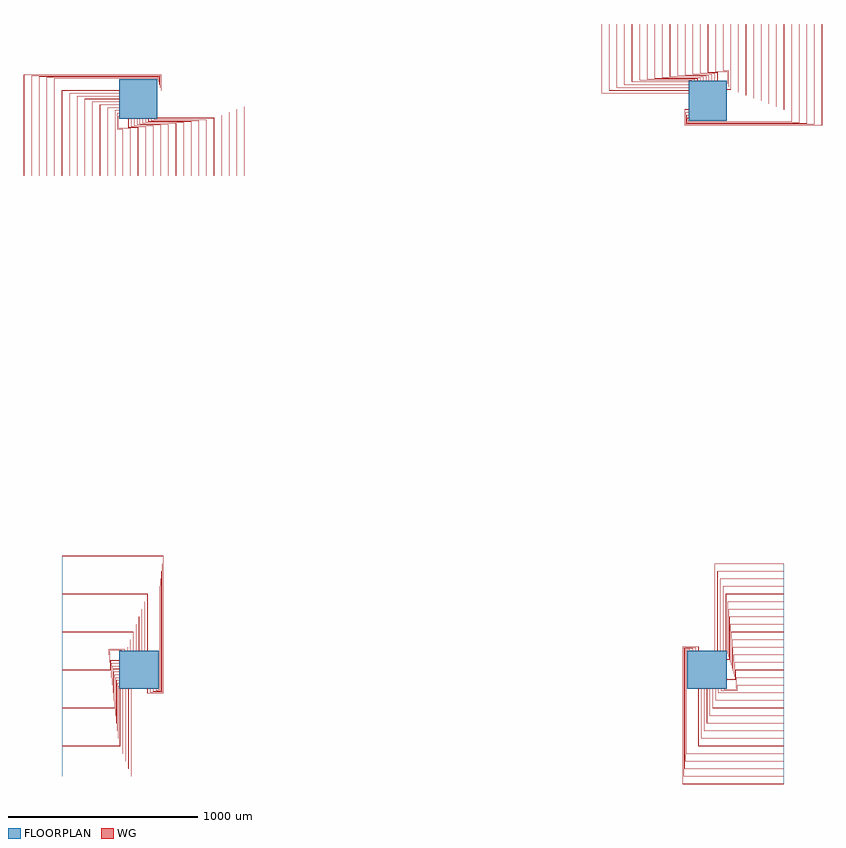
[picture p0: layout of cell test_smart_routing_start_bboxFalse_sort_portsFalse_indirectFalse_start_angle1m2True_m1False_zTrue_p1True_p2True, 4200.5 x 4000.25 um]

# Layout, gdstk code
import gdstk
lib = gdstk.Library(unit=1e-6, precision=1e-09)
def R(c, l, rs):  # rectangles x0, y0, x1, y1
    for r in rs: c.add(gdstk.rectangle(r[:2], r[2:], *l))
def P(c, l, *ps):  # polygons
    for p in ps: c.add(gdstk.Polygon(p, *l))
WG = (1, 0)
FLOORPLAN = (10, 0)

test_smart_routing_start = lib.new_cell('test_smart_routing_start_bboxFalse_sort_portsFalse_indirectFalse_start_angle1m2True_m1False_zTrue_p1True_p2True')
P(test_smart_routing_start, WG, [(2877.8,2867.55),(2877.8,2949.95),(2900,2949.95),(2900,2949.75),(2878,2949.75),(2878,2867.75),(3599.75,2867.75),(3599.75,3400),(3599.95,3400),(3599.95,2867.55)],
  [(2877.5,2867.25),(2877.5,2950.25),(2900,2950.25),(2900,2950.05),(2877.7,2950.05),(2877.7,2867.45),(3600.05,2867.45),(3600.05,3400),(3600.25,3400),(3600.25,2867.25)],
  [(2882.3,2872.05),(2882.3,2934.95),(2900,2934.95),(2900,2934.75),(2882.5,2934.75),(2882.5,2872.25),(3559.75,2872.25),(3559.75,3400),(3559.95,3400),(3559.95,2872.05)],
  [(2882,2871.75),(2882,2935.25),(2900,2935.25),(2900,2935.05),(2882.2,2935.05),(2882.2,2871.95),(3560.05,2871.95),(3560.05,3400),(3560.25,3400),(3560.25,2871.75)],
  [(2886.8,2876.55),(2886.8,2919.95),(2900,2919.95),(2900,2919.75),(2887,2919.75),(2887,2876.75),(3519.75,2876.75),(3519.75,3400),(3519.95,3400),(3519.95,2876.55)],
  [(2886.5,2876.25),(2886.5,2920.25),(2900,2920.25),(2900,2920.05),(2886.7,2920.05),(2886.7,2876.45),(3520.05,2876.45),(3520.05,3400),(3520.25,3400),(3520.25,2876.25)],
  [(2891.3,2881.05),(2891.3,2904.95),(2900,2904.95),(2900,2904.75),(2891.5,2904.75),(2891.5,2881.25),(3479.75,2881.25),(3479.75,3400),(3479.95,3400),(3479.95,2881.05)],
  [(2891,2880.75),(2891,2905.25),(2900,2905.25),(2900,2905.05),(2891.2,2905.05),(2891.2,2880.95),(3480.05,2880.95),(3480.05,3400),(3480.25,3400),(3480.25,2880.75)],
  [(2895.8,2885.55),(2895.8,2889.95),(2900,2889.95),(2900,2889.75),(2896,2889.75),(2896,2885.75),(3439.75,2885.75),(3439.75,3400),(3439.95,3400),(3439.95,2885.55)],
  [(2895.5,2885.25),(2895.5,2890.25),(2900,2890.25),(2900,2890.05),(2895.7,2890.05),(2895.7,2885.45),(3440.05,2885.45),(3440.05,3400),(3440.25,3400),(3440.25,2885.25)],
  [(3100,2950.05),(3100,2950.25),(3399.75,2950.25),(3399.75,3400),(3399.95,3400),(3399.95,2950.05)],
  [(3100,2949.75),(3100,2949.95),(3400.05,2949.95),(3400.05,3400),(3400.25,3400),(3400.25,2949.75)],
  [(3100,2965.05),(3100,2965.25),(3359.75,2965.25),(3359.75,3400),(3359.95,3400),(3359.95,2965.05)],
  [(3100,2964.75),(3100,2964.95),(3360.05,2964.95),(3360.05,3400),(3360.25,3400),(3360.25,2964.75)],
  [(3100,2980.05),(3100,2980.25),(3319.75,2980.25),(3319.75,3400),(3319.95,3400),(3319.95,2980.05)],
  [(3100,2979.75),(3100,2979.95),(3320.05,2979.95),(3320.05,3400),(3320.25,3400),(3320.25,2979.75)],
  [(3100,2995.05),(3100,2995.25),(3279.75,2995.25),(3279.75,3400),(3279.95,3400),(3279.95,2995.05)],
  [(3100,2994.75),(3100,2994.95),(3280.05,2994.95),(3280.05,3400),(3280.25,3400),(3280.25,2994.75)],
  [(3100,3010.05),(3100,3010.25),(3239.75,3010.25),(3239.75,3400),(3239.95,3400),(3239.95,3010.05)],
  [(3100,3009.75),(3100,3009.95),(3240.05,3009.95),(3240.05,3400),(3240.25,3400),(3240.25,3009.75)],
  [(3100,3025.05),(3100,3025.25),(3199.75,3025.25),(3199.75,3400),(3199.95,3400),(3199.95,3025.05)],
  [(3100,3024.75),(3100,3024.95),(3200.05,3024.95),(3200.05,3400),(3200.25,3400),(3200.25,3024.75)],
  [(3100,3040.05),(3100,3040.25),(3159.75,3040.25),(3159.75,3400),(3159.95,3400),(3159.95,3040.05)],
  [(3100,3039.75),(3100,3039.95),(3160.05,3039.95),(3160.05,3400),(3160.25,3400),(3160.25,3039.75)],
  [(3100,3055.05),(3100,3055.25),(3119.75,3055.25),(3119.75,3400),(3119.95,3400),(3119.95,3055.05)],
  [(3100,3054.75),(3100,3054.95),(3120.05,3054.95),(3120.05,3400),(3120.25,3400),(3120.25,3054.75)],
  [(3100,3070.05),(3100,3070.25),(3108.5,3070.25),(3108.5,3153.5),(3079.75,3153.5),(3079.75,3400),(3079.95,3400),(3079.95,3153.7),(3108.7,3153.7),(3108.7,3070.05)],
  [(3100,3069.75),(3100,3069.95),(3108.8,3069.95),(3108.8,3153.8),(3080.05,3153.8),(3080.05,3400),(3080.25,3400),(3080.25,3154),(3109,3154),(3109,3069.75)],
  [(3100,3085.05),(3100,3085.25),(3104,3085.25),(3104,3149),(3039.75,3149),(3039.75,3400),(3039.95,3400),(3039.95,3149.2),(3104.2,3149.2),(3104.2,3085.05)],
  [(3100,3084.75),(3100,3084.95),(3104.3,3084.95),(3104.3,3149.3),(3040.05,3149.3),(3040.05,3400),(3040.25,3400),(3040.25,3149.5),(3104.5,3149.5),(3104.5,3084.75)],
  [(3049.75,3100),(3049.75,3144.5),(2999.75,3144.5),(2999.75,3400),(2999.95,3400),(2999.95,3144.7),(3049.95,3144.7),(3049.95,3100)],
  [(3050.05,3100),(3050.05,3144.8),(3000.05,3144.8),(3000.05,3400),(3000.25,3400),(3000.25,3145),(3050.25,3145),(3050.25,3100)],
  [(3034.75,3100),(3034.75,3140),(2959.75,3140),(2959.75,3400),(2959.95,3400),(2959.95,3140.2),(3034.95,3140.2),(3034.95,3100)],
  [(3035.05,3100),(3035.05,3140.3),(2960.05,3140.3),(2960.05,3400),(2960.25,3400),(2960.25,3140.5),(3035.25,3140.5),(3035.25,3100)],
  [(3019.75,3100),(3019.75,3135.5),(2919.75,3135.5),(2919.75,3400),(2919.95,3400),(2919.95,3135.7),(3019.95,3135.7),(3019.95,3100)],
  [(3020.05,3100),(3020.05,3135.8),(2920.05,3135.8),(2920.05,3400),(2920.25,3400),(2920.25,3136),(3020.25,3136),(3020.25,3100)],
  [(3004.75,3100),(3004.75,3131),(2879.75,3131),(2879.75,3400),(2879.95,3400),(2879.95,3131.2),(3004.95,3131.2),(3004.95,3100)],
  [(3005.05,3100),(3005.05,3131.3),(2880.05,3131.3),(2880.05,3400),(2880.25,3400),(2880.25,3131.5),(3005.25,3131.5),(3005.25,3100)],
  [(2989.75,3100),(2989.75,3126.5),(2839.75,3126.5),(2839.75,3400),(2839.95,3400),(2839.95,3126.7),(2989.95,3126.7),(2989.95,3100)],
  [(2990.05,3100),(2990.05,3126.8),(2840.05,3126.8),(2840.05,3400),(2840.25,3400),(2840.25,3127),(2990.25,3127),(2990.25,3100)],
  [(2974.75,3100),(2974.75,3122),(2799.75,3122),(2799.75,3400),(2799.95,3400),(2799.95,3122.2),(2974.95,3122.2),(2974.95,3100)],
  [(2975.05,3100),(2975.05,3122.3),(2800.05,3122.3),(2800.05,3400),(2800.25,3400),(2800.25,3122.5),(2975.25,3122.5),(2975.25,3100)],
  [(2959.75,3100),(2959.75,3117.5),(2759.75,3117.5),(2759.75,3400),(2759.95,3400),(2759.95,3117.7),(2959.95,3117.7),(2959.95,3100)],
  [(2960.05,3100),(2960.05,3117.8),(2760.05,3117.8),(2760.05,3400),(2760.25,3400),(2760.25,3118),(2960.25,3118),(2960.25,3100)],
  [(2944.75,3100),(2944.75,3113),(2719.75,3113),(2719.75,3400),(2719.95,3400),(2719.95,3113.2),(2944.95,3113.2),(2944.95,3100)],
  [(2945.05,3100),(2945.05,3113.3),(2720.05,3113.3),(2720.05,3400),(2720.25,3400),(2720.25,3113.5),(2945.25,3113.5),(2945.25,3100)],
  [(2929.75,3100),(2929.75,3108.5),(2679.75,3108.5),(2679.75,3400),(2679.95,3400),(2679.95,3108.7),(2929.95,3108.7),(2929.95,3100)],
  [(2930.05,3100),(2930.05,3108.8),(2680.05,3108.8),(2680.05,3400),(2680.25,3400),(2680.25,3109),(2930.25,3109),(2930.25,3100)],
  [(2914.75,3100),(2914.75,3104),(2639.75,3104),(2639.75,3400),(2639.95,3400),(2639.95,3104.2),(2914.95,3104.2),(2914.95,3100)],
  [(2915.05,3100),(2915.05,3104.3),(2640.05,3104.3),(2640.05,3400),(2640.25,3400),(2640.25,3104.5),(2915.25,3104.5),(2915.25,3100)],
  [(2439.75,3034.75),(2439.75,3400),(2439.95,3400),(2439.95,3034.95),(2900,3034.95),(2900,3034.75)],
  [(2440.05,3035.05),(2440.05,3400),(2440.25,3400),(2440.25,3035.25),(2900,3035.25),(2900,3035.05)],
  [(2479.75,3049.75),(2479.75,3400),(2479.95,3400),(2479.95,3049.95),(2900,3049.95),(2900,3049.75)],
  [(2480.05,3050.05),(2480.05,3400),(2480.25,3400),(2480.25,3050.25),(2900,3050.25),(2900,3050.05)],
  [(2519.75,3064.75),(2519.75,3400),(2519.95,3400),(2519.95,3064.95),(2900,3064.95),(2900,3064.75)],
  [(2520.05,3065.05),(2520.05,3400),(2520.25,3400),(2520.25,3065.25),(2900,3065.25),(2900,3065.05)],
  [(2559.75,3079.75),(2559.75,3400),(2559.95,3400),(2559.95,3079.95),(2900,3079.95),(2900,3079.75)],
  [(2560.05,3080.05),(2560.05,3400),(2560.25,3400),(2560.25,3080.25),(2900,3080.25),(2900,3080.05)],
  [(2599.75,3094.75),(2599.75,3400),(2599.95,3400),(2599.95,3094.95),(2900,3094.95),(2900,3094.75)],
  [(2600.05,3095.05),(2600.05,3400),(2600.25,3400),(2600.25,3095.25),(2900,3095.25),(2900,3095.05)],
  [(-599.95,2600),(-599.95,3132.45),(122.2,3132.45),(122.2,3050.05),(100,3050.05),(100,3050.25),(122,3050.25),(122,3132.25),(-599.75,3132.25),(-599.75,2600)],
  [(-600.25,2600),(-600.25,3132.75),(122.5,3132.75),(122.5,3049.75),(100,3049.75),(100,3049.95),(122.3,3049.95),(122.3,3132.55),(-600.05,3132.55),(-600.05,2600)],
  [(-559.95,2600),(-559.95,3127.95),(117.7,3127.95),(117.7,3065.05),(100,3065.05),(100,3065.25),(117.5,3065.25),(117.5,3127.75),(-559.75,3127.75),(-559.75,2600)],
  [(-560.25,2600),(-560.25,3128.25),(118,3128.25),(118,3064.75),(100,3064.75),(100,3064.95),(117.8,3064.95),(117.8,3128.05),(-560.05,3128.05),(-560.05,2600)],
  [(-519.95,2600),(-519.95,3123.45),(113.2,3123.45),(113.2,3080.05),(100,3080.05),(100,3080.25),(113,3080.25),(113,3123.25),(-519.75,3123.25),(-519.75,2600)],
  [(-520.25,2600),(-520.25,3123.75),(113.5,3123.75),(113.5,3079.75),(100,3079.75),(100,3079.95),(113.3,3079.95),(113.3,3123.55),(-520.05,3123.55),(-520.05,2600)],
  [(-479.95,2600),(-479.95,3118.95),(108.7,3118.95),(108.7,3095.05),(100,3095.05),(100,3095.25),(108.5,3095.25),(108.5,3118.75),(-479.75,3118.75),(-479.75,2600)],
  [(-480.25,2600),(-480.25,3119.25),(109,3119.25),(109,3094.75),(100,3094.75),(100,3094.95),(108.8,3094.95),(108.8,3119.05),(-480.05,3119.05),(-480.05,2600)],
  [(-439.95,2600),(-439.95,3114.45),(104.2,3114.45),(104.2,3110.05),(100,3110.05),(100,3110.25),(104,3110.25),(104,3114.25),(-439.75,3114.25),(-439.75,2600)],
  [(-440.25,2600),(-440.25,3114.75),(104.5,3114.75),(104.5,3109.75),(100,3109.75),(100,3109.95),(104.3,3109.95),(104.3,3114.55),(-440.05,3114.55),(-440.05,2600)],
  [(-399.95,2600),(-399.95,3049.95),(-100,3049.95),(-100,3049.75),(-399.75,3049.75),(-399.75,2600)],
  [(-400.25,2600),(-400.25,3050.25),(-100,3050.25),(-100,3050.05),(-400.05,3050.05),(-400.05,2600)],
  [(-359.95,2600),(-359.95,3034.95),(-100,3034.95),(-100,3034.75),(-359.75,3034.75),(-359.75,2600)],
  [(-360.25,2600),(-360.25,3035.25),(-100,3035.25),(-100,3035.05),(-360.05,3035.05),(-360.05,2600)],
  [(-319.95,2600),(-319.95,3019.95),(-100,3019.95),(-100,3019.75),(-319.75,3019.75),(-319.75,2600)],
  [(-320.25,2600),(-320.25,3020.25),(-100,3020.25),(-100,3020.05),(-320.05,3020.05),(-320.05,2600)],
  [(-279.95,2600),(-279.95,3004.95),(-100,3004.95),(-100,3004.75),(-279.75,3004.75),(-279.75,2600)],
  [(-280.25,2600),(-280.25,3005.25),(-100,3005.25),(-100,3005.05),(-280.05,3005.05),(-280.05,2600)],
  [(-239.95,2600),(-239.95,2989.95),(-100,2989.95),(-100,2989.75),(-239.75,2989.75),(-239.75,2600)],
  [(-240.25,2600),(-240.25,2990.25),(-100,2990.25),(-100,2990.05),(-240.05,2990.05),(-240.05,2600)],
  [(-199.95,2600),(-199.95,2974.95),(-100,2974.95),(-100,2974.75),(-199.75,2974.75),(-199.75,2600)],
  [(-200.25,2600),(-200.25,2975.25),(-100,2975.25),(-100,2975.05),(-200.05,2975.05),(-200.05,2600)],
  [(-159.95,2600),(-159.95,2959.95),(-100,2959.95),(-100,2959.75),(-159.75,2959.75),(-159.75,2600)],
  [(-160.25,2600),(-160.25,2960.25),(-100,2960.25),(-100,2960.05),(-160.05,2960.05),(-160.05,2600)],
  [(-119.95,2600),(-119.95,2944.95),(-100,2944.95),(-100,2944.75),(-119.75,2944.75),(-119.75,2600)],
  [(-120.25,2600),(-120.25,2945.25),(-100,2945.25),(-100,2945.05),(-120.05,2945.05),(-120.05,2600)],
  [(-79.95,2600),(-79.95,2846.3),(-108.7,2846.3),(-108.7,2929.95),(-100,2929.95),(-100,2929.75),(-108.5,2929.75),(-108.5,2846.5),(-79.75,2846.5),(-79.75,2600)],
  [(-80.25,2600),(-80.25,2846),(-109,2846),(-109,2930.25),(-100,2930.25),(-100,2930.05),(-108.8,2930.05),(-108.8,2846.2),(-80.05,2846.2),(-80.05,2600)],
  [(-39.95,2600),(-39.95,2850.8),(-104.2,2850.8),(-104.2,2914.95),(-100,2914.95),(-100,2914.75),(-104,2914.75),(-104,2851),(-39.75,2851),(-39.75,2600)],
  [(-40.25,2600),(-40.25,2850.5),(-104.5,2850.5),(-104.5,2915.25),(-100,2915.25),(-100,2915.05),(-104.3,2915.05),(-104.3,2850.7),(-40.05,2850.7),(-40.05,2600)],
  [(-0.25,2600),(-0.25,2855),(-50.25,2855),(-50.25,2900),(-50.05,2900),(-50.05,2855.2),(-0.05,2855.2),(-0.05,2600)],
  [(0.05,2600),(0.05,2855.3),(-49.95,2855.3),(-49.95,2900),(-49.75,2900),(-49.75,2855.5),(0.25,2855.5),(0.25,2600)],
  [(39.75,2600),(39.75,2859.5),(-35.25,2859.5),(-35.25,2900),(-35.05,2900),(-35.05,2859.7),(39.95,2859.7),(39.95,2600)],
  [(40.05,2600),(40.05,2859.8),(-34.95,2859.8),(-34.95,2900),(-34.75,2900),(-34.75,2860),(40.25,2860),(40.25,2600)],
  [(79.75,2600),(79.75,2864),(-20.25,2864),(-20.25,2900),(-20.05,2900),(-20.05,2864.2),(79.95,2864.2),(79.95,2600)],
  [(80.05,2600),(80.05,2864.3),(-19.95,2864.3),(-19.95,2900),(-19.75,2900),(-19.75,2864.5),(80.25,2864.5),(80.25,2600)],
  [(119.75,2600),(119.75,2868.5),(-5.25,2868.5),(-5.25,2900),(-5.05,2900),(-5.05,2868.7),(119.95,2868.7),(119.95,2600)],
  [(120.05,2600),(120.05,2868.8),(-4.95,2868.8),(-4.95,2900),(-4.75,2900),(-4.75,2869),(120.25,2869),(120.25,2600)],
  [(159.75,2600),(159.75,2873),(9.75,2873),(9.75,2900),(9.95,2900),(9.95,2873.2),(159.95,2873.2),(159.95,2600)],
  [(160.05,2600),(160.05,2873.3),(10.05,2873.3),(10.05,2900),(10.25,2900),(10.25,2873.5),(160.25,2873.5),(160.25,2600)],
  [(199.75,2600),(199.75,2877.5),(24.75,2877.5),(24.75,2900),(24.95,2900),(24.95,2877.7),(199.95,2877.7),(199.95,2600)],
  [(200.05,2600),(200.05,2877.8),(25.05,2877.8),(25.05,2900),(25.25,2900),(25.25,2878),(200.25,2878),(200.25,2600)],
  [(239.75,2600),(239.75,2882),(39.75,2882),(39.75,2900),(39.95,2900),(39.95,2882.2),(239.95,2882.2),(239.95,2600)],
  [(240.05,2600),(240.05,2882.3),(40.05,2882.3),(40.05,2900),(40.25,2900),(40.25,2882.5),(240.25,2882.5),(240.25,2600)],
  [(279.75,2600),(279.75,2886.5),(54.75,2886.5),(54.75,2900),(54.95,2900),(54.95,2886.7),(279.95,2886.7),(279.95,2600)],
  [(280.05,2600),(280.05,2886.8),(55.05,2886.8),(55.05,2900),(55.25,2900),(55.25,2887),(280.25,2887),(280.25,2600)],
  [(319.75,2600),(319.75,2891),(69.75,2891),(69.75,2900),(69.95,2900),(69.95,2891.2),(319.95,2891.2),(319.95,2600)],
  [(320.05,2600),(320.05,2891.3),(70.05,2891.3),(70.05,2900),(70.25,2900),(70.25,2891.5),(320.25,2891.5),(320.25,2600)],
  [(359.75,2600),(359.75,2895.5),(84.75,2895.5),(84.75,2900),(84.95,2900),(84.95,2895.7),(359.95,2895.7),(359.95,2600)],
  [(360.05,2600),(360.05,2895.8),(85.05,2895.8),(85.05,2900),(85.25,2900),(85.25,2896),(360.25,2896),(360.25,2600)],
  [(559.75,2600),(559.75,2964.75),(100,2964.75),(100,2964.95),(559.95,2964.95),(559.95,2600)],
  [(560.05,2600),(560.05,2965.05),(100,2965.05),(100,2965.25),(560.25,2965.25),(560.25,2600)],
  [(519.75,2600),(519.75,2949.75),(100,2949.75),(100,2949.95),(519.95,2949.95),(519.95,2600)],
  [(520.05,2600),(520.05,2950.05),(100,2950.05),(100,2950.25),(520.25,2950.25),(520.25,2600)],
  [(479.75,2600),(479.75,2934.75),(100,2934.75),(100,2934.95),(479.95,2934.95),(479.95,2600)],
  [(480.05,2600),(480.05,2935.05),(100,2935.05),(100,2935.25),(480.25,2935.25),(480.25,2600)],
  [(439.75,2600),(439.75,2919.75),(100,2919.75),(100,2919.95),(439.95,2919.95),(439.95,2600)],
  [(440.05,2600),(440.05,2920.05),(100,2920.05),(100,2920.25),(440.25,2920.25),(440.25,2600)],
  [(399.75,2600),(399.75,2904.75),(100,2904.75),(100,2904.95),(399.95,2904.95),(399.95,2600)],
  [(400.05,2600),(400.05,2905.05),(100,2905.05),(100,2905.25),(400.25,2905.25),(400.25,2600)],
  [(50.05,-122.2),(50.05,-100),(50.25,-100),(50.25,-122),(132.25,-122),(132.25,599.75),(-400,599.75),(-400,599.95),(132.45,599.95),(132.45,-122.2)],
  [(49.75,-122.5),(49.75,-100),(49.95,-100),(49.95,-122.3),(132.55,-122.3),(132.55,600.05),(-400,600.05),(-400,600.25),(132.75,600.25),(132.75,-122.5)],
  [(65.05,-117.7),(65.05,-100),(65.25,-100),(65.25,-117.5),(127.75,-117.5),(127.75,559.75),(-400,559.75),(-400,559.95),(127.95,559.95),(127.95,-117.7)],
  [(64.75,-118),(64.75,-100),(64.95,-100),(64.95,-117.8),(128.05,-117.8),(128.05,560.05),(-400,560.05),(-400,560.25),(128.25,560.25),(128.25,-118)],
  [(80.05,-113.2),(80.05,-100),(80.25,-100),(80.25,-113),(123.25,-113),(123.25,519.75),(-400,519.75),(-400,519.95),(123.45,519.95),(123.45,-113.2)],
  [(79.75,-113.5),(79.75,-100),(79.95,-100),(79.95,-113.3),(123.55,-113.3),(123.55,520.05),(-400,520.05),(-400,520.25),(123.75,520.25),(123.75,-113.5)],
  [(95.05,-108.7),(95.05,-100),(95.25,-100),(95.25,-108.5),(118.75,-108.5),(118.75,479.75),(-400,479.75),(-400,479.95),(118.95,479.95),(118.95,-108.7)],
  [(94.75,-109),(94.75,-100),(94.95,-100),(94.95,-108.8),(119.05,-108.8),(119.05,480.05),(-400,480.05),(-400,480.25),(119.25,480.25),(119.25,-109)],
  [(110.05,-104.2),(110.05,-100),(110.25,-100),(110.25,-104),(114.25,-104),(114.25,439.75),(-400,439.75),(-400,439.95),(114.45,439.95),(114.45,-104.2)],
  [(109.75,-104.5),(109.75,-100),(109.95,-100),(109.95,-104.3),(114.55,-104.3),(114.55,440.05),(-400,440.05),(-400,440.25),(114.75,440.25),(114.75,-104.5)],
  [(49.75,100),(49.75,399.75),(-400,399.75),(-400,399.95),(49.95,399.95),(49.95,100)],
  [(50.05,100),(50.05,400.05),(-400,400.05),(-400,400.25),(50.25,400.25),(50.25,100)],
  [(34.75,100),(34.75,359.75),(-400,359.75),(-400,359.95),(34.95,359.95),(34.95,100)],
  [(35.05,100),(35.05,360.05),(-400,360.05),(-400,360.25),(35.25,360.25),(35.25,100)],
  [(19.75,100),(19.75,319.75),(-400,319.75),(-400,319.95),(19.95,319.95),(19.95,100)],
  [(20.05,100),(20.05,320.05),(-400,320.05),(-400,320.25),(20.25,320.25),(20.25,100)],
  [(4.75,100),(4.75,279.75),(-400,279.75),(-400,279.95),(4.95,279.95),(4.95,100)],
  [(5.05,100),(5.05,280.05),(-400,280.05),(-400,280.25),(5.25,280.25),(5.25,100)],
  [(-10.25,100),(-10.25,239.75),(-400,239.75),(-400,239.95),(-10.05,239.95),(-10.05,100)],
  [(-9.95,100),(-9.95,240.05),(-400,240.05),(-400,240.25),(-9.75,240.25),(-9.75,100)],
  [(-25.25,100),(-25.25,199.75),(-400,199.75),(-400,199.95),(-25.05,199.95),(-25.05,100)],
  [(-24.95,100),(-24.95,200.05),(-400,200.05),(-400,200.25),(-24.75,200.25),(-24.75,100)],
  [(-40.25,100),(-40.25,159.75),(-400,159.75),(-400,159.95),(-40.05,159.95),(-40.05,100)],
  [(-39.95,100),(-39.95,160.05),(-400,160.05),(-400,160.25),(-39.75,160.25),(-39.75,100)],
  [(-55.25,100),(-55.25,119.75),(-400,119.75),(-400,119.95),(-55.05,119.95),(-55.05,100)],
  [(-54.95,100),(-54.95,120.05),(-400,120.05),(-400,120.25),(-54.75,120.25),(-54.75,100)],
  [(-400,79.75),(-400,79.95),(-153.7,79.95),(-153.7,108.7),(-70.05,108.7),(-70.05,100),(-70.25,100),(-70.25,108.5),(-153.5,108.5),(-153.5,79.75)],
  [(-400,80.05),(-400,80.25),(-154,80.25),(-154,109),(-69.75,109),(-69.75,100),(-69.95,100),(-69.95,108.8),(-153.8,108.8),(-153.8,80.05)],
  [(-400,39.75),(-400,39.95),(-149.2,39.95),(-149.2,104.2),(-85.05,104.2),(-85.05,100),(-85.25,100),(-85.25,104),(-149,104),(-149,39.75)],
  [(-400,40.05),(-400,40.25),(-149.5,40.25),(-149.5,104.5),(-84.75,104.5),(-84.75,100),(-84.95,100),(-84.95,104.3),(-149.3,104.3),(-149.3,40.05)],
  [(-400,-0.25),(-400,-0.05),(-144.7,-0.05),(-144.7,49.95),(-100,49.95),(-100,49.75),(-144.5,49.75),(-144.5,-0.25)],
  [(-400,0.05),(-400,0.25),(-145,0.25),(-145,50.25),(-100,50.25),(-100,50.05),(-144.8,50.05),(-144.8,0.05)],
  [(-400,-40.25),(-400,-40.05),(-140.2,-40.05),(-140.2,34.95),(-100,34.95),(-100,34.75),(-140,34.75),(-140,-40.25)],
  [(-400,-39.95),(-400,-39.75),(-140.5,-39.75),(-140.5,35.25),(-100,35.25),(-100,35.05),(-140.3,35.05),(-140.3,-39.95)],
  [(-400,-80.25),(-400,-80.05),(-135.7,-80.05),(-135.7,19.95),(-100,19.95),(-100,19.75),(-135.5,19.75),(-135.5,-80.25)],
  [(-400,-79.95),(-400,-79.75),(-136,-79.75),(-136,20.25),(-100,20.25),(-100,20.05),(-135.8,20.05),(-135.8,-79.95)],
  [(-400,-120.25),(-400,-120.05),(-131.2,-120.05),(-131.2,4.95),(-100,4.95),(-100,4.75),(-131,4.75),(-131,-120.25)],
  [(-400,-119.95),(-400,-119.75),(-131.5,-119.75),(-131.5,5.25),(-100,5.25),(-100,5.05),(-131.3,5.05),(-131.3,-119.95)],
  [(-400,-160.25),(-400,-160.05),(-126.7,-160.05),(-126.7,-10.05),(-100,-10.05),(-100,-10.25),(-126.5,-10.25),(-126.5,-160.25)],
  [(-400,-159.95),(-400,-159.75),(-127,-159.75),(-127,-9.75),(-100,-9.75),(-100,-9.95),(-126.8,-9.95),(-126.8,-159.95)],
  [(-400,-200.25),(-400,-200.05),(-122.2,-200.05),(-122.2,-25.05),(-100,-25.05),(-100,-25.25),(-122,-25.25),(-122,-200.25)],
  [(-400,-199.95),(-400,-199.75),(-122.5,-199.75),(-122.5,-24.75),(-100,-24.75),(-100,-24.95),(-122.3,-24.95),(-122.3,-199.95)],
  [(-400,-240.25),(-400,-240.05),(-117.7,-240.05),(-117.7,-40.05),(-100,-40.05),(-100,-40.25),(-117.5,-40.25),(-117.5,-240.25)],
  [(-400,-239.95),(-400,-239.75),(-118,-239.75),(-118,-39.75),(-100,-39.75),(-100,-39.95),(-117.8,-39.95),(-117.8,-239.95)],
  [(-400,-280.25),(-400,-280.05),(-113.2,-280.05),(-113.2,-55.05),(-100,-55.05),(-100,-55.25),(-113,-55.25),(-113,-280.25)],
  [(-400,-279.95),(-400,-279.75),(-113.5,-279.75),(-113.5,-54.75),(-100,-54.75),(-100,-54.95),(-113.3,-54.95),(-113.3,-279.95)],
  [(-400,-320.25),(-400,-320.05),(-108.7,-320.05),(-108.7,-70.05),(-100,-70.05),(-100,-70.25),(-108.5,-70.25),(-108.5,-320.25)],
  [(-400,-319.95),(-400,-319.75),(-109,-319.75),(-109,-69.75),(-100,-69.75),(-100,-69.95),(-108.8,-69.95),(-108.8,-319.95)],
  [(-400,-360.25),(-400,-360.05),(-104.2,-360.05),(-104.2,-85.05),(-100,-85.05),(-100,-85.25),(-104,-85.25),(-104,-360.25)],
  [(-400,-359.95),(-400,-359.75),(-104.5,-359.75),(-104.5,-84.75),(-100,-84.75),(-100,-84.95),(-104.3,-84.95),(-104.3,-359.95)],
  [(-400,-559.95),(-400,-559.75),(-35.25,-559.75),(-35.25,-100),(-35.05,-100),(-35.05,-559.95)],
  [(-400,-560.25),(-400,-560.05),(-34.95,-560.05),(-34.95,-100),(-34.75,-100),(-34.75,-560.25)],
  [(-400,-519.95),(-400,-519.75),(-50.25,-519.75),(-50.25,-100),(-50.05,-100),(-50.05,-519.95)],
  [(-400,-520.25),(-400,-520.05),(-49.95,-520.05),(-49.95,-100),(-49.75,-100),(-49.75,-520.25)],
  [(-400,-479.95),(-400,-479.75),(-65.25,-479.75),(-65.25,-100),(-65.05,-100),(-65.05,-479.95)],
  [(-400,-480.25),(-400,-480.05),(-64.95,-480.05),(-64.95,-100),(-64.75,-100),(-64.75,-480.25)],
  [(-400,-439.95),(-400,-439.75),(-80.25,-439.75),(-80.25,-100),(-80.05,-100),(-80.05,-439.95)],
  [(-400,-440.25),(-400,-440.05),(-79.95,-440.05),(-79.95,-100),(-79.75,-100),(-79.75,-440.25)],
  [(-400,-399.95),(-400,-399.75),(-95.25,-399.75),(-95.25,-100),(-95.05,-100),(-95.05,-399.95)],
  [(-400,-400.25),(-400,-400.05),(-94.95,-400.05),(-94.95,-100),(-94.75,-100),(-94.75,-400.25)],
  [(2867.55,-599.95),(2867.55,122.2),(2949.95,122.2),(2949.95,100),(2949.75,100),(2949.75,122),(2867.75,122),(2867.75,-599.75),(3400,-599.75),(3400,-599.95)],
  [(2867.25,-600.25),(2867.25,122.5),(2950.25,122.5),(2950.25,100),(2950.05,100),(2950.05,122.3),(2867.45,122.3),(2867.45,-600.05),(3400,-600.05),(3400,-600.25)],
  [(2872.05,-559.95),(2872.05,117.7),(2934.95,117.7),(2934.95,100),(2934.75,100),(2934.75,117.5),(2872.25,117.5),(2872.25,-559.75),(3400,-559.75),(3400,-559.95)],
  [(2871.75,-560.25),(2871.75,118),(2935.25,118),(2935.25,100),(2935.05,100),(2935.05,117.8),(2871.95,117.8),(2871.95,-560.05),(3400,-560.05),(3400,-560.25)],
  [(2876.55,-519.95),(2876.55,113.2),(2919.95,113.2),(2919.95,100),(2919.75,100),(2919.75,113),(2876.75,113),(2876.75,-519.75),(3400,-519.75),(3400,-519.95)],
  [(2876.25,-520.25),(2876.25,113.5),(2920.25,113.5),(2920.25,100),(2920.05,100),(2920.05,113.3),(2876.45,113.3),(2876.45,-520.05),(3400,-520.05),(3400,-520.25)],
  [(2881.05,-479.95),(2881.05,108.7),(2904.95,108.7),(2904.95,100),(2904.75,100),(2904.75,108.5),(2881.25,108.5),(2881.25,-479.75),(3400,-479.75),(3400,-479.95)],
  [(2880.75,-480.25),(2880.75,109),(2905.25,109),(2905.25,100),(2905.05,100),(2905.05,108.8),(2880.95,108.8),(2880.95,-480.05),(3400,-480.05),(3400,-480.25)],
  [(2885.55,-439.95),(2885.55,104.2),(2889.95,104.2),(2889.95,100),(2889.75,100),(2889.75,104),(2885.75,104),(2885.75,-439.75),(3400,-439.75),(3400,-439.95)],
  [(2885.25,-440.25),(2885.25,104.5),(2890.25,104.5),(2890.25,100),(2890.05,100),(2890.05,104.3),(2885.45,104.3),(2885.45,-440.05),(3400,-440.05),(3400,-440.25)],
  [(2949.75,-400.25),(2949.75,-100),(2949.95,-100),(2949.95,-400.05),(3400,-400.05),(3400,-400.25)],
  [(2950.05,-399.95),(2950.05,-100),(2950.25,-100),(2950.25,-399.75),(3400,-399.75),(3400,-399.95)],
  [(2964.75,-360.25),(2964.75,-100),(2964.95,-100),(2964.95,-360.05),(3400,-360.05),(3400,-360.25)],
  [(2965.05,-359.95),(2965.05,-100),(2965.25,-100),(2965.25,-359.75),(3400,-359.75),(3400,-359.95)],
  [(2979.75,-320.25),(2979.75,-100),(2979.95,-100),(2979.95,-320.05),(3400,-320.05),(3400,-320.25)],
  [(2980.05,-319.95),(2980.05,-100),(2980.25,-100),(2980.25,-319.75),(3400,-319.75),(3400,-319.95)],
  [(2994.75,-280.25),(2994.75,-100),(2994.95,-100),(2994.95,-280.05),(3400,-280.05),(3400,-280.25)],
  [(2995.05,-279.95),(2995.05,-100),(2995.25,-100),(2995.25,-279.75),(3400,-279.75),(3400,-279.95)],
  [(3009.75,-240.25),(3009.75,-100),(3009.95,-100),(3009.95,-240.05),(3400,-240.05),(3400,-240.25)],
  [(3010.05,-239.95),(3010.05,-100),(3010.25,-100),(3010.25,-239.75),(3400,-239.75),(3400,-239.95)],
  [(3024.75,-200.25),(3024.75,-100),(3024.95,-100),(3024.95,-200.05),(3400,-200.05),(3400,-200.25)],
  [(3025.05,-199.95),(3025.05,-100),(3025.25,-100),(3025.25,-199.75),(3400,-199.75),(3400,-199.95)],
  [(3039.75,-160.25),(3039.75,-100),(3039.95,-100),(3039.95,-160.05),(3400,-160.05),(3400,-160.25)],
  [(3040.05,-159.95),(3040.05,-100),(3040.25,-100),(3040.25,-159.75),(3400,-159.75),(3400,-159.95)],
  [(3054.75,-120.25),(3054.75,-100),(3054.95,-100),(3054.95,-120.05),(3400,-120.05),(3400,-120.25)],
  [(3055.05,-119.95),(3055.05,-100),(3055.25,-100),(3055.25,-119.75),(3400,-119.75),(3400,-119.95)],
  [(3069.75,-109),(3069.75,-100),(3069.95,-100),(3069.95,-108.8),(3153.8,-108.8),(3153.8,-80.05),(3400,-80.05),(3400,-80.25),(3154,-80.25),(3154,-109)],
  [(3070.05,-108.7),(3070.05,-100),(3070.25,-100),(3070.25,-108.5),(3153.5,-108.5),(3153.5,-79.75),(3400,-79.75),(3400,-79.95),(3153.7,-79.95),(3153.7,-108.7)],
  [(3084.75,-104.5),(3084.75,-100),(3084.95,-100),(3084.95,-104.3),(3149.3,-104.3),(3149.3,-40.05),(3400,-40.05),(3400,-40.25),(3149.5,-40.25),(3149.5,-104.5)],
  [(3085.05,-104.2),(3085.05,-100),(3085.25,-100),(3085.25,-104),(3149,-104),(3149,-39.75),(3400,-39.75),(3400,-39.95),(3149.2,-39.95),(3149.2,-104.2)],
  [(3100,-50.25),(3100,-50.05),(3144.8,-50.05),(3144.8,-0.05),(3400,-0.05),(3400,-0.25),(3145,-0.25),(3145,-50.25)],
  [(3100,-49.95),(3100,-49.75),(3144.5,-49.75),(3144.5,0.25),(3400,0.25),(3400,0.05),(3144.7,0.05),(3144.7,-49.95)],
  [(3100,-35.25),(3100,-35.05),(3140.3,-35.05),(3140.3,39.95),(3400,39.95),(3400,39.75),(3140.5,39.75),(3140.5,-35.25)],
  [(3100,-34.95),(3100,-34.75),(3140,-34.75),(3140,40.25),(3400,40.25),(3400,40.05),(3140.2,40.05),(3140.2,-34.95)],
  [(3100,-20.25),(3100,-20.05),(3135.8,-20.05),(3135.8,79.95),(3400,79.95),(3400,79.75),(3136,79.75),(3136,-20.25)],
  [(3100,-19.95),(3100,-19.75),(3135.5,-19.75),(3135.5,80.25),(3400,80.25),(3400,80.05),(3135.7,80.05),(3135.7,-19.95)],
  [(3100,-5.25),(3100,-5.05),(3131.3,-5.05),(3131.3,119.95),(3400,119.95),(3400,119.75),(3131.5,119.75),(3131.5,-5.25)],
  [(3100,-4.95),(3100,-4.75),(3131,-4.75),(3131,120.25),(3400,120.25),(3400,120.05),(3131.2,120.05),(3131.2,-4.95)],
  [(3100,9.75),(3100,9.95),(3126.8,9.95),(3126.8,159.95),(3400,159.95),(3400,159.75),(3127,159.75),(3127,9.75)],
  [(3100,10.05),(3100,10.25),(3126.5,10.25),(3126.5,160.25),(3400,160.25),(3400,160.05),(3126.7,160.05),(3126.7,10.05)],
  [(3100,24.75),(3100,24.95),(3122.3,24.95),(3122.3,199.95),(3400,199.95),(3400,199.75),(3122.5,199.75),(3122.5,24.75)],
  [(3100,25.05),(3100,25.25),(3122,25.25),(3122,200.25),(3400,200.25),(3400,200.05),(3122.2,200.05),(3122.2,25.05)],
  [(3100,39.75),(3100,39.95),(3117.8,39.95),(3117.8,239.95),(3400,239.95),(3400,239.75),(3118,239.75),(3118,39.75)],
  [(3100,40.05),(3100,40.25),(3117.5,40.25),(3117.5,240.25),(3400,240.25),(3400,240.05),(3117.7,240.05),(3117.7,40.05)],
  [(3100,54.75),(3100,54.95),(3113.3,54.95),(3113.3,279.95),(3400,279.95),(3400,279.75),(3113.5,279.75),(3113.5,54.75)],
  [(3100,55.05),(3100,55.25),(3113,55.25),(3113,280.25),(3400,280.25),(3400,280.05),(3113.2,280.05),(3113.2,55.05)],
  [(3100,69.75),(3100,69.95),(3108.8,69.95),(3108.8,319.95),(3400,319.95),(3400,319.75),(3109,319.75),(3109,69.75)],
  [(3100,70.05),(3100,70.25),(3108.5,70.25),(3108.5,320.25),(3400,320.25),(3400,320.05),(3108.7,320.05),(3108.7,70.05)],
  [(3100,84.75),(3100,84.95),(3104.3,84.95),(3104.3,359.95),(3400,359.95),(3400,359.75),(3104.5,359.75),(3104.5,84.75)],
  [(3100,85.05),(3100,85.25),(3104,85.25),(3104,360.25),(3400,360.25),(3400,360.05),(3104.2,360.05),(3104.2,85.05)],
  [(3035.05,100),(3035.05,559.95),(3400,559.95),(3400,559.75),(3035.25,559.75),(3035.25,100)],
  [(3034.75,100),(3034.75,560.25),(3400,560.25),(3400,560.05),(3034.95,560.05),(3034.95,100)],
  [(3050.05,100),(3050.05,519.95),(3400,519.95),(3400,519.75),(3050.25,519.75),(3050.25,100)],
  [(3049.75,100),(3049.75,520.25),(3400,520.25),(3400,520.05),(3049.95,520.05),(3049.95,100)],
  [(3065.05,100),(3065.05,479.95),(3400,479.95),(3400,479.75),(3065.25,479.75),(3065.25,100)],
  [(3064.75,100),(3064.75,480.25),(3400,480.25),(3400,480.05),(3064.95,480.05),(3064.95,100)],
  [(3080.05,100),(3080.05,439.95),(3400,439.95),(3400,439.75),(3080.25,439.75),(3080.25,100)],
  [(3079.75,100),(3079.75,440.25),(3400,440.25),(3400,440.05),(3079.95,440.05),(3079.95,100)],
  [(3095.05,100),(3095.05,399.95),(3400,399.95),(3400,399.75),(3095.25,399.75),(3095.25,100)],
  [(3094.75,100),(3094.75,400.25),(3400,400.25),(3400,400.05),(3094.95,400.05),(3094.95,100)])
R(test_smart_routing_start, FLOORPLAN, [(-100,-100,110,100), (2890,-100,3100,100), (2900,2890,3100,3100), (-100,2900,100,3110)])
P(test_smart_routing_start, FLOORPLAN, [(-400,-560),(-400,600),(-400,600),(-400,-560)],
  [(-600,2600),(-600,2600),(560,2600),(560,2600)],
  [(3400,-600),(3400,560),(3400,560),(3400,-600)],
  [(2440,3400),(2440,3400),(3600,3400),(3600,3400)])

lib.write_gds('test_smart_routing_start_bboxFalse_sort_portsFalse_indirectFalse_start_angle1m2True_m1False_zTrue_p1True_p2True.gds')
